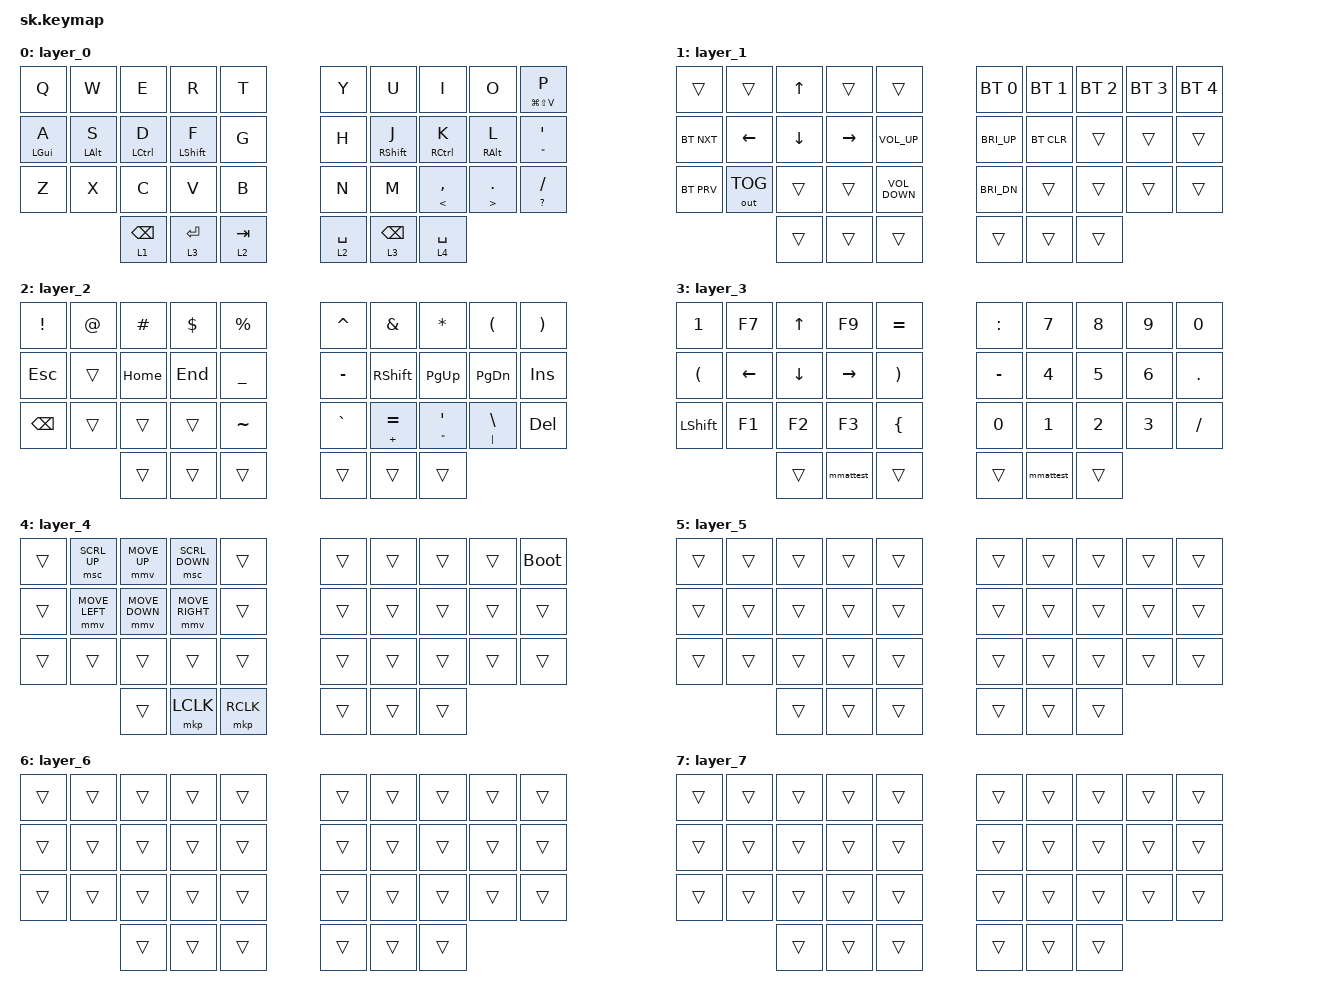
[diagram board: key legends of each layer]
/*
 * Copyright (c) 2020 The ZMK Contributors
 *
 * SPDX-License-Identifier: MIT
 */
#include <dt-bindings/zmk/mouse.h>
#include <behaviors.dtsi>
#include <dt-bindings/zmk/bt.h>
#include <dt-bindings/zmk/keys.h>
#include <dt-bindings/zmk/outputs.h>

&mt {
    tapping-term-ms = <200>;
    flavor = "tap-preferred";
};

&sk {
    release-after-ms = <2000>;
    quick-release;
};

/ {
    combos {
        compatible = "zmk,combos";

        pipe {
            bindings = <&altsae>;
            key-positions = <14 15>;
        };

        winaltsae {
            bindings = <&winaltsae>;
            key-positions = <24 25>;
        };
    };

macros {

        winaltsae: winaltsae {
            compatible = "zmk,behavior-macro";
            #binding-cells = <0>;
            bindings = <&kp RA(S) &kp RA(A) &kp RA(E)>;
            label = "WINALTSAE";
        };

        altsae: altsae {
            compatible = "zmk,behavior-macro";
            #binding-cells = <0>;
            bindings = <&kp RA(LG(S)) &kp RA(LG(A)) &kp RA(LG(E))>;
            label = "ALTSAE";
        };

        mmattest: mmattest {
            compatible = "zmk,behavior-macro";
            #binding-cells = <0>;
            bindings =
                <&kp F2 &kp BACKSPACE &kp PERIOD &kp M &kp M &kp A &kp T &kp T &kp E &kp S &kp T>,
                <&macro_wait_time 500>,
                <&kp ENTER>,
                <&macro_wait_time 500>,
                <&kp F2>;

            label = "MMATTEST";
        };
    };
    behaviors {
        hm: homerow_mods {
            compatible = "zmk,behavior-hold-tap";
            label = "HOMEROW_MODS";
            #binding-cells = <2>;
            tapping-term-ms = <200>;
            quick_tap_ms = <200>;
            flavor = "tap-preferred";
            bindings = <&kp>, <&kp>;

            quick-tap-ms = <180>;
            global-quick-tap;
        };

        ltq: ltq {
            compatible = "zmk,behavior-hold-tap";
            label = "LTQ";
            #binding-cells = <2>;
            tapping-term-ms = <200>;
            quick_tap_ms = <200>;
            flavor = "hold-preferred";
            bindings = <&mo>, <&kp>;

            quick-tap-ms = <180>;
            global-quick-tap;
        };

        as: as {
            compatible = "zmk,behavior-hold-tap";
            label = "AUTO_SHIFT";
            bindings = <&kp>, <&kp>;

            #binding-cells = <2>;
            tapping-term-ms = <200>;
            quick-tap-ms = <0>;
            flavor = "tap-preferred";
        };
    };

    keymap {
        compatible = "zmk,keymap";

        layer_0 {
            bindings = <
&kp Q                             &kp W                      &kp E                     &kp R             &kp T         &kp Y                     &kp U              &kp I                &kp O                    &hm LG(LS(V)) P
&hm LEFT_GUI A                    &hm LEFT_ALT S             &hm LCTRL D               &hm LEFT_SHIFT F  &kp G         &kp H                     &hm RIGHT_SHIFT J  &hm RCTRL K          &hm RIGHT_ALT L          &as DOUBLE_QUOTES SINGLE_QUOTE
&kp Z                             &kp X                      &kp C                     &kp V             &kp B         &kp N                     &kp M              &as LESS_THAN COMMA  &as GREATER_THAN PERIOD  &as QUESTION SLASH
                &ltq 1 BACKSPACE                  &lt 3 ENTER               &lt 2 TAB                    &ltq 2 SPACE  &ltq 3 BACKSPACE  &ltq 4 SPACE
            >;
        };

        layer_1{
            bindings = <
&trans              &trans                &kp UP            &trans     &trans             &bt BT_SEL 0          &bt BT_SEL 1  &bt BT_SEL 2  &bt BT_SEL 3  &bt BT_SEL 4
&bt BT_NXT          &kp LEFT              &kp DOWN          &kp RIGHT  &kp C_VOLUME_UP    &kp C_BRI_UP          &bt BT_CLR    &trans        &trans        &trans
&bt BT_PRV          &out OUT_TOG          &trans            &trans     &kp C_VOLUME_DOWN  &kp C_BRI_DN          &trans        &trans        &trans        &trans
            &trans                &trans            &trans             &trans             &trans        &trans
            >;
        };

        layer_2 {
            bindings = <
&kp EXCLAMATION          &kp AT_SIGN           &kp HASH          &kp DOLLAR  &kp PERCENT  &kp CARET          &kp AMPERSAND    &kp STAR                        &kp LEFT_PARENTHESIS  &kp RIGHT_PARENTHESIS
&kp ESCAPE               &trans          &kp HOME          &kp END     &kp UNDER    &kp MINUS          &kp RIGHT_SHIFT  &kp PAGE_UP                     &kp PAGE_DOWN         &kp INSERT
&kp BACKSPACE            &trans                &trans            &trans      &kp TILDE    &kp GRAVE          &as PLUS EQUAL   &as DOUBLE_QUOTES SINGLE_QUOTE  &as PIPE BACKSLASH    &kp DEL
                 &trans                &trans            &trans              &trans       &trans     &trans
            >;
        };

        layer_3 {
            bindings = <
&kp NUMBER_1          &kp F7          &kp UP          &kp F9           &kp EQUAL       &kp COLON              &kp NUMBER_7    &kp NUMBER_8      &kp NUMBER_9  &kp NUMBER_0
&kp LEFT_PARENTHESIS  &kp LEFT        &kp DOWN       &kp RIGHT     &kp RIGHT_PARENTHESIS   &kp MINUS         &kp NUMBER_4  &kp NUMBER_5  &kp NUMBER_6  &kp PERIOD
&kp LEFT_SHIFT        &kp F1          &kp F2         &kp F3     &kp LEFT_BRACE      &kp NUMBER_0            &kp NUMBER_1      &kp NUMBER_2   &kp NUMBER_3  &kp SLASH
              &trans                &mmattest                &trans                &trans            &mmattest             &trans
            >;
        };

        layer_4 {
            bindings = <
&trans          &msc SCRL_UP   &mmv MOVE_UP  &msc SCRL_DOWN  &trans  &trans          &trans  &trans  &trans  &bootloader
&trans          &mmv MOVE_LEFT  &mmv MOVE_DOWN  &mmv MOVE_RIGHT  &trans  &trans          &trans  &trans  &trans  &trans
&trans          &trans          &trans          &trans  &trans  &trans          &trans  &trans  &trans  &trans
        &trans          &mkp LCLK  &mkp RCLK         &trans  &trans  &trans
            >;
        };

        layer_5 {
            bindings = <
&trans          &trans          &trans          &trans  &trans  &trans          &trans  &trans  &trans  &trans
&trans          &trans          &trans          &trans  &trans  &trans          &trans  &trans  &trans  &trans
&trans          &trans          &trans          &trans  &trans  &trans          &trans  &trans  &trans  &trans
        &trans          &trans          &trans          &trans  &trans  &trans
            >;
        };

        layer_6 {
            bindings = <
&trans          &trans          &trans          &trans  &trans  &trans          &trans  &trans  &trans  &trans
&trans          &trans          &trans          &trans  &trans  &trans          &trans  &trans  &trans  &trans
&trans          &trans          &trans          &trans  &trans  &trans          &trans  &trans  &trans  &trans
        &trans          &trans          &trans          &trans  &trans  &trans
            >;
        };

        layer_7 {
            bindings = <
&trans          &trans          &trans          &trans  &trans  &trans          &trans  &trans  &trans  &trans
&trans          &trans          &trans          &trans  &trans  &trans          &trans  &trans  &trans  &trans
&trans          &trans          &trans          &trans  &trans  &trans          &trans  &trans  &trans  &trans
        &trans          &trans          &trans          &trans  &trans  &trans
            >;
        };
    };
};
